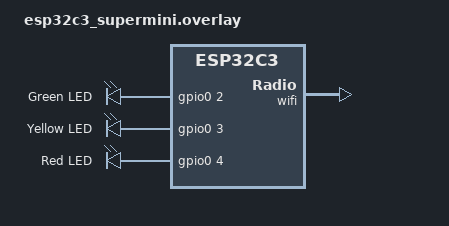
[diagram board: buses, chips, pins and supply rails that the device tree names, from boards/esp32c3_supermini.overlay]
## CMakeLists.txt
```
# SPDX-License-Identifier: Apache-2.0

cmake_minimum_required(VERSION 3.13.1)

list(APPEND ZEPHYR_EXTRA_MODULES ${CMAKE_CURRENT_SOURCE_DIR}/../../modules/lib/micro_ros_zephyr_module/modules/libmicroros)




find_package(Zephyr REQUIRED HINTS $ENV{ZEPHYR_BASE})
project(simple_traffic_light C CXX)

# Include directories
target_include_directories(app PRIVATE include)

# Source files
target_sources(app PRIVATE
    src/main.c
)
```

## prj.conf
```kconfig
# --- Logging ---
CONFIG_LOG=y
CONFIG_LOG_DEFAULT_LEVEL=3
CONFIG_WIFI_LOG_LEVEL_DBG=y
CONFIG_NET_LOG=y

# --- Wi-Fi ---
CONFIG_WIFI=y
CONFIG_WIFI_ESP32=y

# --- Network stack ---
CONFIG_NETWORKING=y
CONFIG_NET_IPV4=y
CONFIG_NET_UDP=y
CONFIG_NET_DHCPV4=y
CONFIG_NET_CONFIG_AUTO_INIT=n
CONFIG_NET_CONNECTION_MANAGER=y
CONFIG_NET_L2_WIFI_MGMT=y
CONFIG_NET_MGMT=y
CONFIG_NET_MGMT_EVENT=y
CONFIG_NET_MGMT_EVENT_STACK_SIZE=8192
CONFIG_NET_SOCKETS=y
CONFIG_POSIX_API=y

# --- micro-ROS ---
CONFIG_MICROROS=y
CONFIG_MICROROS_TRANSPORT_UDP=y
CONFIG_MICROROS_XRCE_DDS_MTU="512"
CONFIG_MICROROS_PUBLISHERS="1"
CONFIG_MICROROS_SUBSCRIBERS="0"
CONFIG_MICROROS_SERVERS="0"
CONFIG_MICROROS_CLIENTS="0"
CONFIG_NET_L2_ETHERNET=y

# --- Memory ---
CONFIG_MAIN_STACK_SIZE=4096
CONFIG_HEAP_MEM_POOL_SIZE=16384
```

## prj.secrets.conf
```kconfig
CONFIG_MICROROS_WIFI_SSID="sml_legacy"
CONFIG_MICROROS_WIFI_PASSWORD="SML4admin."

CONFIG_WIFI_CREDENTIALS=y
CONFIG_WIFI_CREDENTIALS_STATIC=y
CONFIG_WIFI_CREDENTIALS_STATIC_SSID="sml_legacy"
CONFIG_WIFI_CREDENTIALS_STATIC_PASSWORD="SML4admin."
CONFIG_MICROROS_AGENT_IP="10.0.0.157"
CONFIG_NET_CONFIG_WIFI_SSID="sml_legacy"
CONFIG_NET_CONFIG_WIFI_PSK="SML4admin."
```

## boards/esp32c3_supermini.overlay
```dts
/ {
    aliases {
        led0 = &led_green;
        led1 = &led_yellow;
        led2 = &led_red;
    };

    leds {
        compatible = "gpio-leds";
        led_green: led_green {
            gpios = <&gpio0 2 GPIO_ACTIVE_HIGH>;
            label = "Green LED";
        };
        led_yellow: led_yellow {
            gpios = <&gpio0 3 GPIO_ACTIVE_HIGH>;
            label = "Yellow LED";
        };
        led_red: led_red {
            gpios = <&gpio0 4 GPIO_ACTIVE_HIGH>;
            label = "Red LED";
        };
    };
};
/ {
    wifi-credentials {
        ssid = "sml_legacy";
        psk = "SML4admin.";
    };
};

&wifi {
    status = "okay";
};
```

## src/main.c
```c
#include <zephyr/kernel.h>
#include <zephyr/logging/log.h>
#include <zephyr/net/net_if.h>
#include <zephyr/net/net_mgmt.h>
#include <zephyr/net/wifi_mgmt.h>

#include <microros_transports.h>
#include <rcl/rcl.h>
#include <rclc/executor.h>
#include <rclc/rclc.h>
#include <rmw_microros/rmw_microros.h>
#include <std_msgs/msg/int32.h>
#include <uxr/client/client.h> /* for struct uxrCustomTransport */

LOG_MODULE_REGISTER(app, LOG_LEVEL_INF);

#define WIFI_SSID "sml_legacy"
#define WIFI_PSK "SML4admin."
#define AGENT_IP "10.0.0.107"
#define AGENT_PORT "8888"
#define PUB_MS 1000

static struct net_if *sta;

/* ------------------------------------------------------------------ */
static void micro_ros_thread(void *, void *, void *);

K_THREAD_DEFINE(uros_tid, 4096, micro_ros_thread, NULL, NULL, NULL, 5, 0, 0);

static void wifi_event_cb(struct net_mgmt_event_callback *cb,
                          uint32_t evt, struct net_if *iface) {
    if (evt != NET_EVENT_WIFI_CONNECT_RESULT)
        return;

    const struct wifi_status *st = (const struct wifi_status *)cb->info;
    if (st->status == 0) {
        LOG_INF("Wi-Fi connected, waiting for DHCP…");
    } else {
        LOG_ERR("Wi-Fi connect failed: %d", st->status);
    }
}

/* ------------------------------------------------------------------ */
static void micro_ros_thread(void *a1, void *a2, void *a3) {
    ARG_UNUSED(a1);
    ARG_UNUSED(a2);
    ARG_UNUSED(a3);

    /* Wait until DHCP gives us an IPv4 address */
    struct net_if_addr *if_addr;
    int retries = 20;
    while (!(if_addr = net_if_ipv4_get_addr(sta, NET_ADDR_DHCP, NULL)) && retries--) {
        k_msleep(500);
    }
    if (!if_addr) {
        LOG_ERR("DHCP timeout");
        return;
    }

    char ipbuf[NET_IPV4_ADDR_LEN];
    net_addr_ntop(AF_INET, &if_addr->address, ipbuf, sizeof(ipbuf));
    LOG_INF("DHCP OK, IP: %s", ipbuf);

    /* micro-ROS transport */
    zephyr_transport_params_t tp = {.ip = AGENT_IP, .port = AGENT_PORT};
    rmw_ret_t rmw_rc = rmw_uros_set_custom_transport(
        false, &tp,
        zephyr_transport_open,
        zephyr_transport_close,
        zephyr_transport_write,
        zephyr_transport_read);
    if (rmw_rc != RMW_RET_OK) {
        LOG_ERR("transport setup failed: %d", rmw_rc);
        return;
    }

    /* rcl/rclc */
    rcl_allocator_t alloc = rcl_get_default_allocator();
    rclc_support_t support;
    rcl_ret_t rc = rclc_support_init(&support, 0, NULL, &alloc);
    if (rc != RCL_RET_OK)
        goto fail;

    rcl_node_t node;
    rc = rclc_node_init_default(&node, "esp32c3", "", &support);
    if (rc != RCL_RET_OK)
        goto fail;

    rcl_publisher_t pub;
    rc = rclc_publisher_init_default(
        &pub, &node,
        ROSIDL_GET_MSG_TYPE_SUPPORT(std_msgs, msg, Int32),
        "wifi_int");
    if (rc != RCL_RET_OK)
        goto fail;

    rcl_timer_t timer;
    rc = rclc_timer_init_default2(
        &timer, &support, RCL_MS_TO_NS(PUB_MS),
        [], (rcl_timer_t *, int64_t) {
            static std_msgs__msg__Int32 msg;
            msg.data++;
            rcl_publish(&pub, &msg, NULL);
        },
        true);
    if (rc != RCL_RET_OK)
        goto fail;

    rclc_executor_t exec;
    rc = rclc_executor_init(&exec, &support.context, 1, &alloc);
    if (rc != RCL_RET_OK)
        goto fail;

    rc = rclc_executor_add_timer(&exec, &timer);
    if (rc != RCL_RET_OK)
        goto fail;

    LOG_INF("micro-ROS running, publishing every %d ms", PUB_MS);
    while (true) {
        rclc_executor_spin_some(&exec, RCL_MS_TO_NS(100));
        k_msleep(10);
    }

fail:
    LOG_ERR("micro-ROS init failed: %d", rc);
}

/* ------------------------------------------------------------------ */
int main(void) {
    sta = net_if_get_default();
    if (!sta) {
        LOG_ERR("no network interface");
        return -ENODEV;
    }

    struct net_mgmt_event_callback cb;
    net_mgmt_init_event_callback(&cb, wifi_event_cb,
                                 NET_EVENT_WIFI_CONNECT_RESULT);
    net_mgmt_add_event_callback(&cb);

    struct wifi_connect_req_params params = {
        .ssid = WIFI_SSID,
        .ssid_length = strlen(WIFI_SSID),
        .psk = WIFI_PSK,
        .psk_length = strlen(WIFI_PSK),
        .security = WIFI_SECURITY_TYPE_PSK,
        .channel = WIFI_CHANNEL_ANY,
    };
    int ret = net_mgmt(NET_REQUEST_WIFI_CONNECT, sta, &params, sizeof(params));
    if (ret) {
        LOG_ERR("Wi-Fi connect request failed: %d", ret);
        return ret;
    }

    return 0;
}
```
